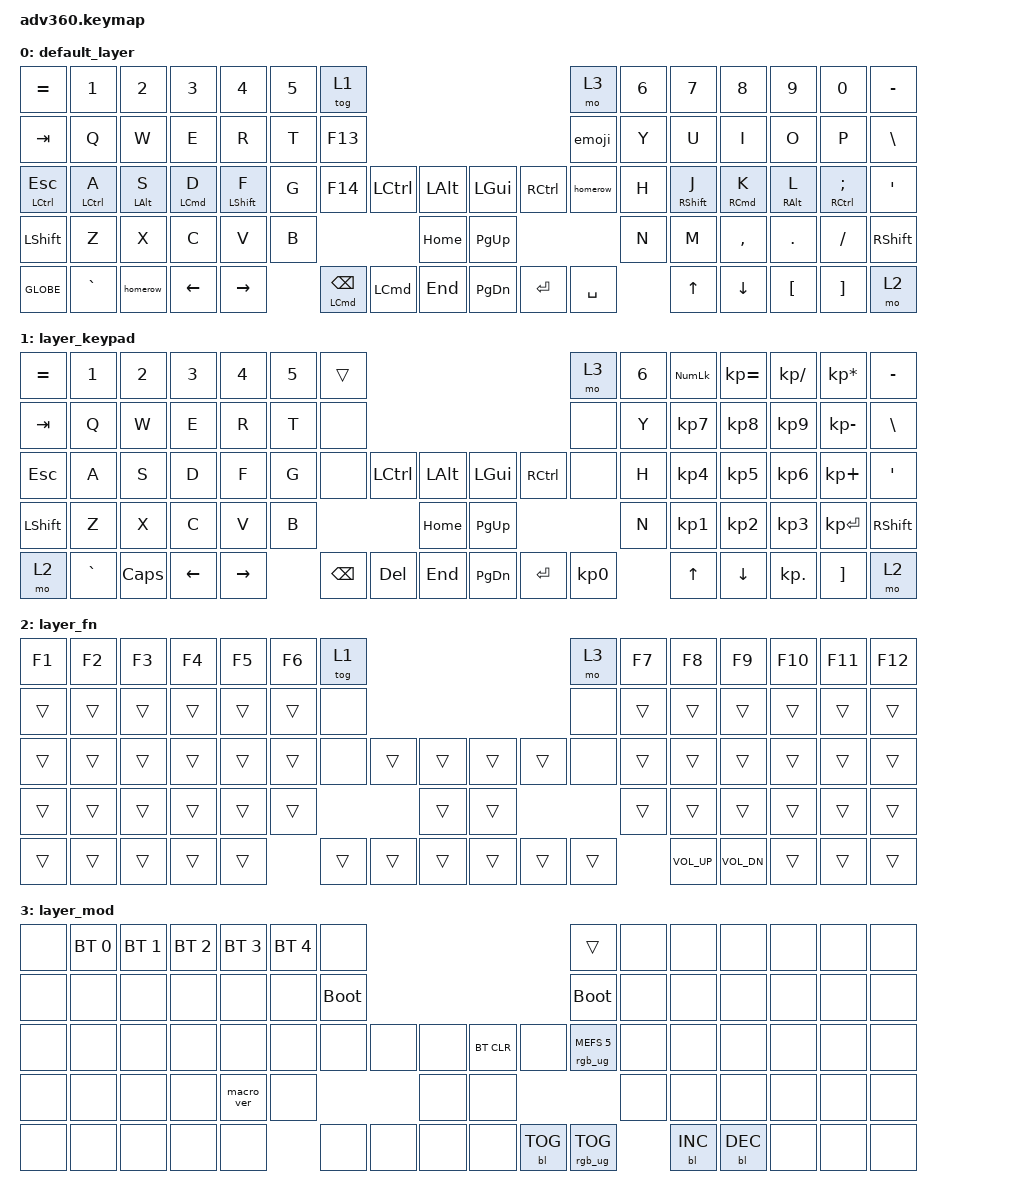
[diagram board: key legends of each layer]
/*
 * Copyright (c) 2020 The ZMK Contributors
 *
 * SPDX-License-Identifier: MIT
 */
/* THIS FILE WAS GENERATED!
 *
 * This file was generated automatically. You may or may not want to
 * edit it directly.
 */

#include <behaviors.dtsi>
#include <dt-bindings/zmk/backlight.h>
#include <dt-bindings/zmk/bt.h>
#include <dt-bindings/zmk/keys.h>
#include <dt-bindings/zmk/rgb.h>

/ {
    behaviors {
        #include "macros.dtsi"
    #include "version.dtsi"

        hm: homerow_mods {
            compatible = "zmk,behavior-hold-tap";
            label = "HOMEROW_MODS";
            #binding-cells = <2>;
            tapping-term-ms = <200>;
            quick_tap_ms = <175>;
            flavor = "tap-preferred";
            bindings = <&kp>, <&kp>;
        };
    };

    macros {
        homerow: homerow {
            compatible = "zmk,behavior-macro";
            #binding-cells = <0>;
            bindings = <&kp LCMD &kp LEFT_ALT &kp SPACE>;
            label = "HOMEROW";
        };

        emoji: emoji {
            compatible = "zmk,behavior-macro";
            #binding-cells = <0>;
            bindings = <&kp LCTRL &kp LEFT_ALT &kp SPACE>;
            label = "EMOJI";
        };
    };

    keymap {
        compatible = "zmk,keymap";

        default_layer {
            bindings = <
&kp EQUAL         &kp N1       &kp N2          &kp N3              &kp N4            &kp N5  &tog 1                                                                            &mo 3      &kp N6  &kp N7             &kp N8               &kp N9           &kp N0          &kp MINUS
&kp TAB           &kp Q        &kp W           &kp E               &kp R             &kp T   &kp F13                                                                           &emoji     &kp Y   &kp U              &kp I                &kp O            &kp P           &kp BSLH
&hm LCTRL ESCAPE  &hm LCTRL A  &hm LEFT_ALT S  &hm LEFT_COMMAND D  &hm LEFT_SHIFT F  &kp G   &kp F14                     &kp LCTRL         &kp LALT      &kp LGUI   &kp RCTRL  &homerow   &kp H   &hm RIGHT_SHIFT J  &hm RIGHT_COMMAND K  &hm RIGHT_ALT L  &hm RCTRL SEMI  &kp SQT
&kp LSHFT         &kp Z        &kp X           &kp C               &kp V             &kp B                                                 &kp HOME      &kp PG_UP                        &kp N   &kp M              &kp COMMA            &kp DOT          &kp FSLH        &kp RSHFT
&kp GLOBE         &kp GRAVE    &homerow        &kp LEFT            &kp RIGHT                 &hm LEFT_COMMAND BACKSPACE  &kp LEFT_COMMAND  &kp END       &kp PG_DN  &kp ENTER  &kp SPACE          &kp UP             &kp DOWN             &kp LBKT         &kp RBKT        &mo 2
            >;
        };

        layer_keypad {
            bindings = <
&kp EQUAL  &kp N1     &kp N2    &kp N3    &kp N4     &kp N5  &trans                                                   &mo 3      &kp N6  &kp KP_NUM  &kp KP_EQUAL  &kp KP_DIVIDE  &kp KP_MULTIPLY  &kp MINUS
&kp TAB    &kp Q      &kp W     &kp E     &kp R      &kp T   &none                                                    &none      &kp Y   &kp KP_N7   &kp KP_N8     &kp KP_N9      &kp KP_MINUS     &kp BSLH
&kp ESC    &kp A      &kp S     &kp D     &kp F      &kp G   &none     &kp LCTRL  &kp LALT      &kp LGUI   &kp RCTRL  &none      &kp H   &kp KP_N4   &kp KP_N5     &kp KP_N6      &kp KP_PLUS      &kp SQT
&kp LSHFT  &kp Z      &kp X     &kp C     &kp V      &kp B                        &kp HOME      &kp PG_UP                        &kp N   &kp KP_N1   &kp KP_N2     &kp KP_N3      &kp KP_ENTER     &kp RSHFT
&mo 2      &kp GRAVE  &kp CAPS  &kp LEFT  &kp RIGHT          &kp BSPC  &kp DEL    &kp END       &kp PG_DN  &kp ENTER  &kp KP_N0          &kp UP      &kp DOWN      &kp KP_DOT     &kp RBKT         &mo 2
            >;
        };

        layer_fn {
            bindings = <
&kp F1  &kp F2  &kp F3  &kp F4  &kp F5  &kp F6  &tog 1                                      &mo 3   &kp F7  &kp F8        &kp F9        &kp F10  &kp F11  &kp F12
&trans  &trans  &trans  &trans  &trans  &trans  &none                                       &none   &trans  &trans        &trans        &trans   &trans   &trans
&trans  &trans  &trans  &trans  &trans  &trans  &none   &trans  &trans      &trans  &trans  &none   &trans  &trans        &trans        &trans   &trans   &trans
&trans  &trans  &trans  &trans  &trans  &trans                  &trans      &trans                  &trans  &trans        &trans        &trans   &trans   &trans
&trans  &trans  &trans  &trans  &trans          &trans  &trans  &trans      &trans  &trans  &trans          &kp C_VOL_UP  &kp C_VOL_DN  &trans   &trans   &trans
            >;
        };

        layer_mod {
            bindings = <
&none  &bt BT_SEL 0  &bt BT_SEL 1  &bt BT_SEL 2  &bt BT_SEL 3  &bt BT_SEL 4  &none                                                  &trans                  &none  &none       &none       &none  &none  &none
&none  &none         &none         &none         &none         &none         &bootloader                                            &bootloader             &none  &none       &none       &none  &none  &none
&none  &none         &none         &none         &none         &none         &none        &none  &none      &bt BT_CLR  &none       &rgb_ug RGB_MEFS_CMD 5  &none  &none       &none       &none  &none  &none
&none  &none         &none         &none         &macro_ver    &none                             &none      &none                                           &none  &none       &none       &none  &none  &none
&none  &none         &none         &none         &none                       &none        &none  &none      &none       &bl BL_TOG  &rgb_ug RGB_TOG                &bl BL_INC  &bl BL_DEC  &none  &none  &none
            >;
        };
    };
};
